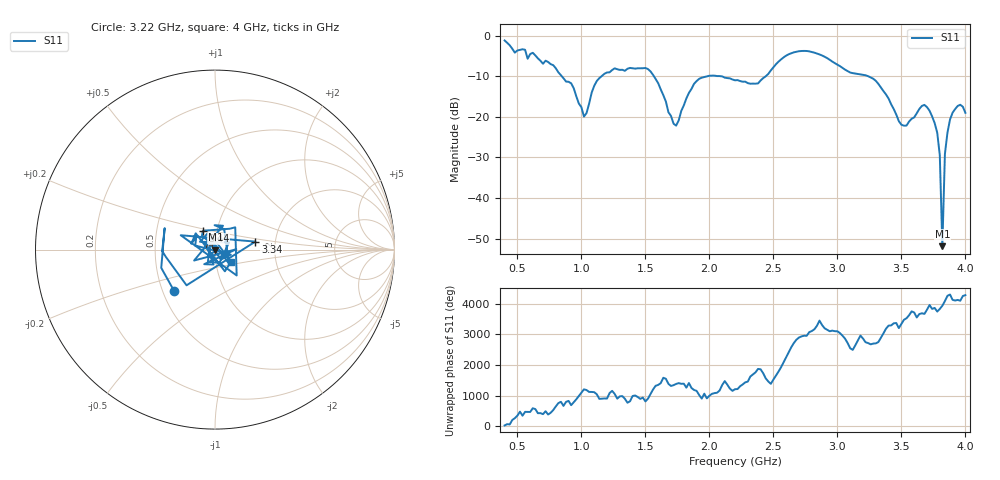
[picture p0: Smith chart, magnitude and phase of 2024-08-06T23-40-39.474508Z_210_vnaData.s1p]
!Created with skrf (http://scikit-rf.org).
# Hz S RI R 50.0
!freq ReS11 ImS11
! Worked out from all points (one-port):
!   181 points, 400 MHz to 4 GHz, reference 50 ohm
!   lowest |S11| = -51.9 dB at 3.82 GHz (marker M1), VSWR 1.01, Z = 50.2 - j0.101 ohm
!   |S11| at or under -10 dB: 1.566 GHz to 1.987 GHz (420.7 MHz wide, 23.7 % of centre); 2.088 GHz to 2.441 GHz (353 MHz wide, 15.6 % of centre); 3.24 GHz to end of sweep (the widest 3 of 4)
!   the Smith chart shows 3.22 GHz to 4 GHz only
!   S11 on the Smith chart (normalised r, x): 3.22 GHz: 0.57, -0.30; 3.34 GHz: 1.57, +0.15; 3.44 GHz: 0.85, +0.18; 4 GHz: 1.18, -0.16
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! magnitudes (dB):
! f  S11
! 400 MHz  -1.2
! 860 MHz  -10.5
! 920 MHz  -11.8
! 1.02 GHz  -19.9
! 1.12 GHz  -11.2
! 1.3 GHz  -8.4
! 1.52 GHz  -8.2
! 1.6 GHz  -11.7
! 1.72 GHz  -21.7
! 1.76 GHz  -20.9
! 1.92 GHz  -10.6
! 2.2 GHz  -11.0
! 2.38 GHz  -11.8
! 2.66 GHz  -4.1
! 3.1 GHz  -9.1
! 3.22 GHz  -9.8
! 3.34 GHz  -12.8
! 3.44 GHz  -18.1
! 3.5 GHz  -22.0
! 3.56 GHz  -21.2
! 3.68 GHz  -17.1
! 3.78 GHz  -23.9
! 3.8 GHz  -29.5
! 3.82 GHz  -51.9
! 3.84 GHz  -29.1
! 3.86 GHz  -23.9
! 3.94 GHz  -17.3
! 4 GHz  -19.0
